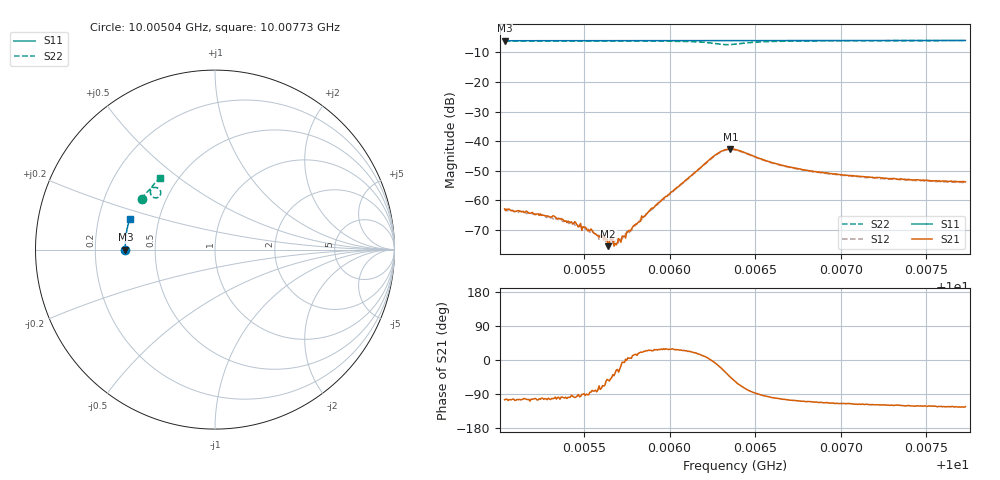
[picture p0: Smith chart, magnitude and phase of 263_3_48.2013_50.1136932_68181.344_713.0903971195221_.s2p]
#  HZ  S  RI  R  50.00
! Rohde & Schwarz Vector Network Analyzer
! Rohde-Schwarz,ZNB20-2Port,1311601062101988,3.16
! Created: UTC 3/20/2024, 11:47:51 AM
! freq[Hz]  re:S11  im:S11  re:S21  im:S21  re:S12  im:S12  re:S22  im:S22
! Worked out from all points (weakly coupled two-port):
!   401 points, 10.00504 GHz to 10.00773 GHz, reference 50 ohm
!   highest |S21| = -42.60 dB at 10.00636 GHz (marker M1); lowest = -75.5 dB at 10.00564 GHz (marker M2)
!   lowest |S11| = -6.0 dB at 10.00504 GHz (marker M3), VSWR 3.00, Z = 16.7 + j0.00237 ohm
!   |S11| at or under -10 dB: nowhere
!   |S22| runs from -7.3 to -6.0 dB; largest |S21 - S12| = 0.00043
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1.0005037e10  -0.4996 5.32e-05  -0.000184 -0.000693  -0.000118 -0.000665  -0.408 0.2801
1.0005245e10  -0.4999 0.0138  -0.000141 -0.000573  -0.000117 -0.000551  -0.3999 0.2924
1.0005319e10  -0.4999 0.0185  -0.000116 -0.000535  -6.95e-05 -0.000479  -0.3969 0.2968
1.000544e10  -0.4999 0.0264  -5.53e-05 -0.000405  -5.59e-05 -0.000413  -0.3918 0.304
1.0005487e10  -0.4999 0.0294  -6.04e-06 -0.000311  -4.5e-06 -0.000369  -0.3898 0.307
1.0005608e10  -0.4994 0.0372  9.7e-05 -0.000234  9.55e-05 -0.000224  -0.3838 0.3142
1.0005642e10  -0.4994 0.0394  0.000101 -0.000135  0.000111 -0.000151  -0.3821 0.3165
1.0005655e10  -0.4993 0.0402  0.000149 -0.000174  0.000106 -0.000146  -0.3813 0.3173
1.0005682e10  -0.4993 0.042  0.000156 -0.000104  0.000173 -0.000117  -0.3799 0.3189
1.0005703e10  -0.4991 0.0434  0.000191 -0.00012  0.000179 -6.82e-05  -0.3788 0.3202
1.0005716e10  -0.4991 0.0442  0.000189 -5.31e-05  0.000218 -4.38e-05  -0.378 0.3211
1.0005729e10  -0.499 0.0451  0.000246 -2.62e-05  0.000238 -3.06e-05  -0.3773 0.3219
1.0005851e10  -0.4984 0.0529  0.000495 0.00021  0.000473 0.000224  -0.3695 0.3297
1.0005938e10  -0.4981 0.0585  0.000822 0.000435  0.00075 0.000475  -0.3625 0.3355
1.0006261e10  -0.4954 0.0793  0.00562 -0.00061  0.00551 -0.00031  -0.306 0.3306
1.0006308e10  -0.4949 0.0821  0.00627 -0.00285  0.00629 -0.00248  -0.3028 0.31
1.0006355e10  -0.4944 0.0849  0.00522 -0.00526  0.00537 -0.0049  -0.3163 0.2917
1.0006382e10  -0.4943 0.0865  0.00401 -0.00609  0.00425 -0.00573  -0.3283 0.2884
1.0006604e10  -0.4926 0.1007  -0.0007 -0.00423  -0.000512 -0.00422  -0.3597 0.3266
1.0006833e10  -0.4899 0.1153  -0.00109 -0.00294  -0.000953 -0.0029  -0.3502 0.3506
1.0007283e10  -0.4833 0.1435  -0.00116 -0.00203  -0.00103 -0.00205  -0.3274 0.3786
1.0007727e10  -0.4753 0.1712  -0.00112 -0.00172  -0.00104 -0.00175  -0.3048 0.4002
